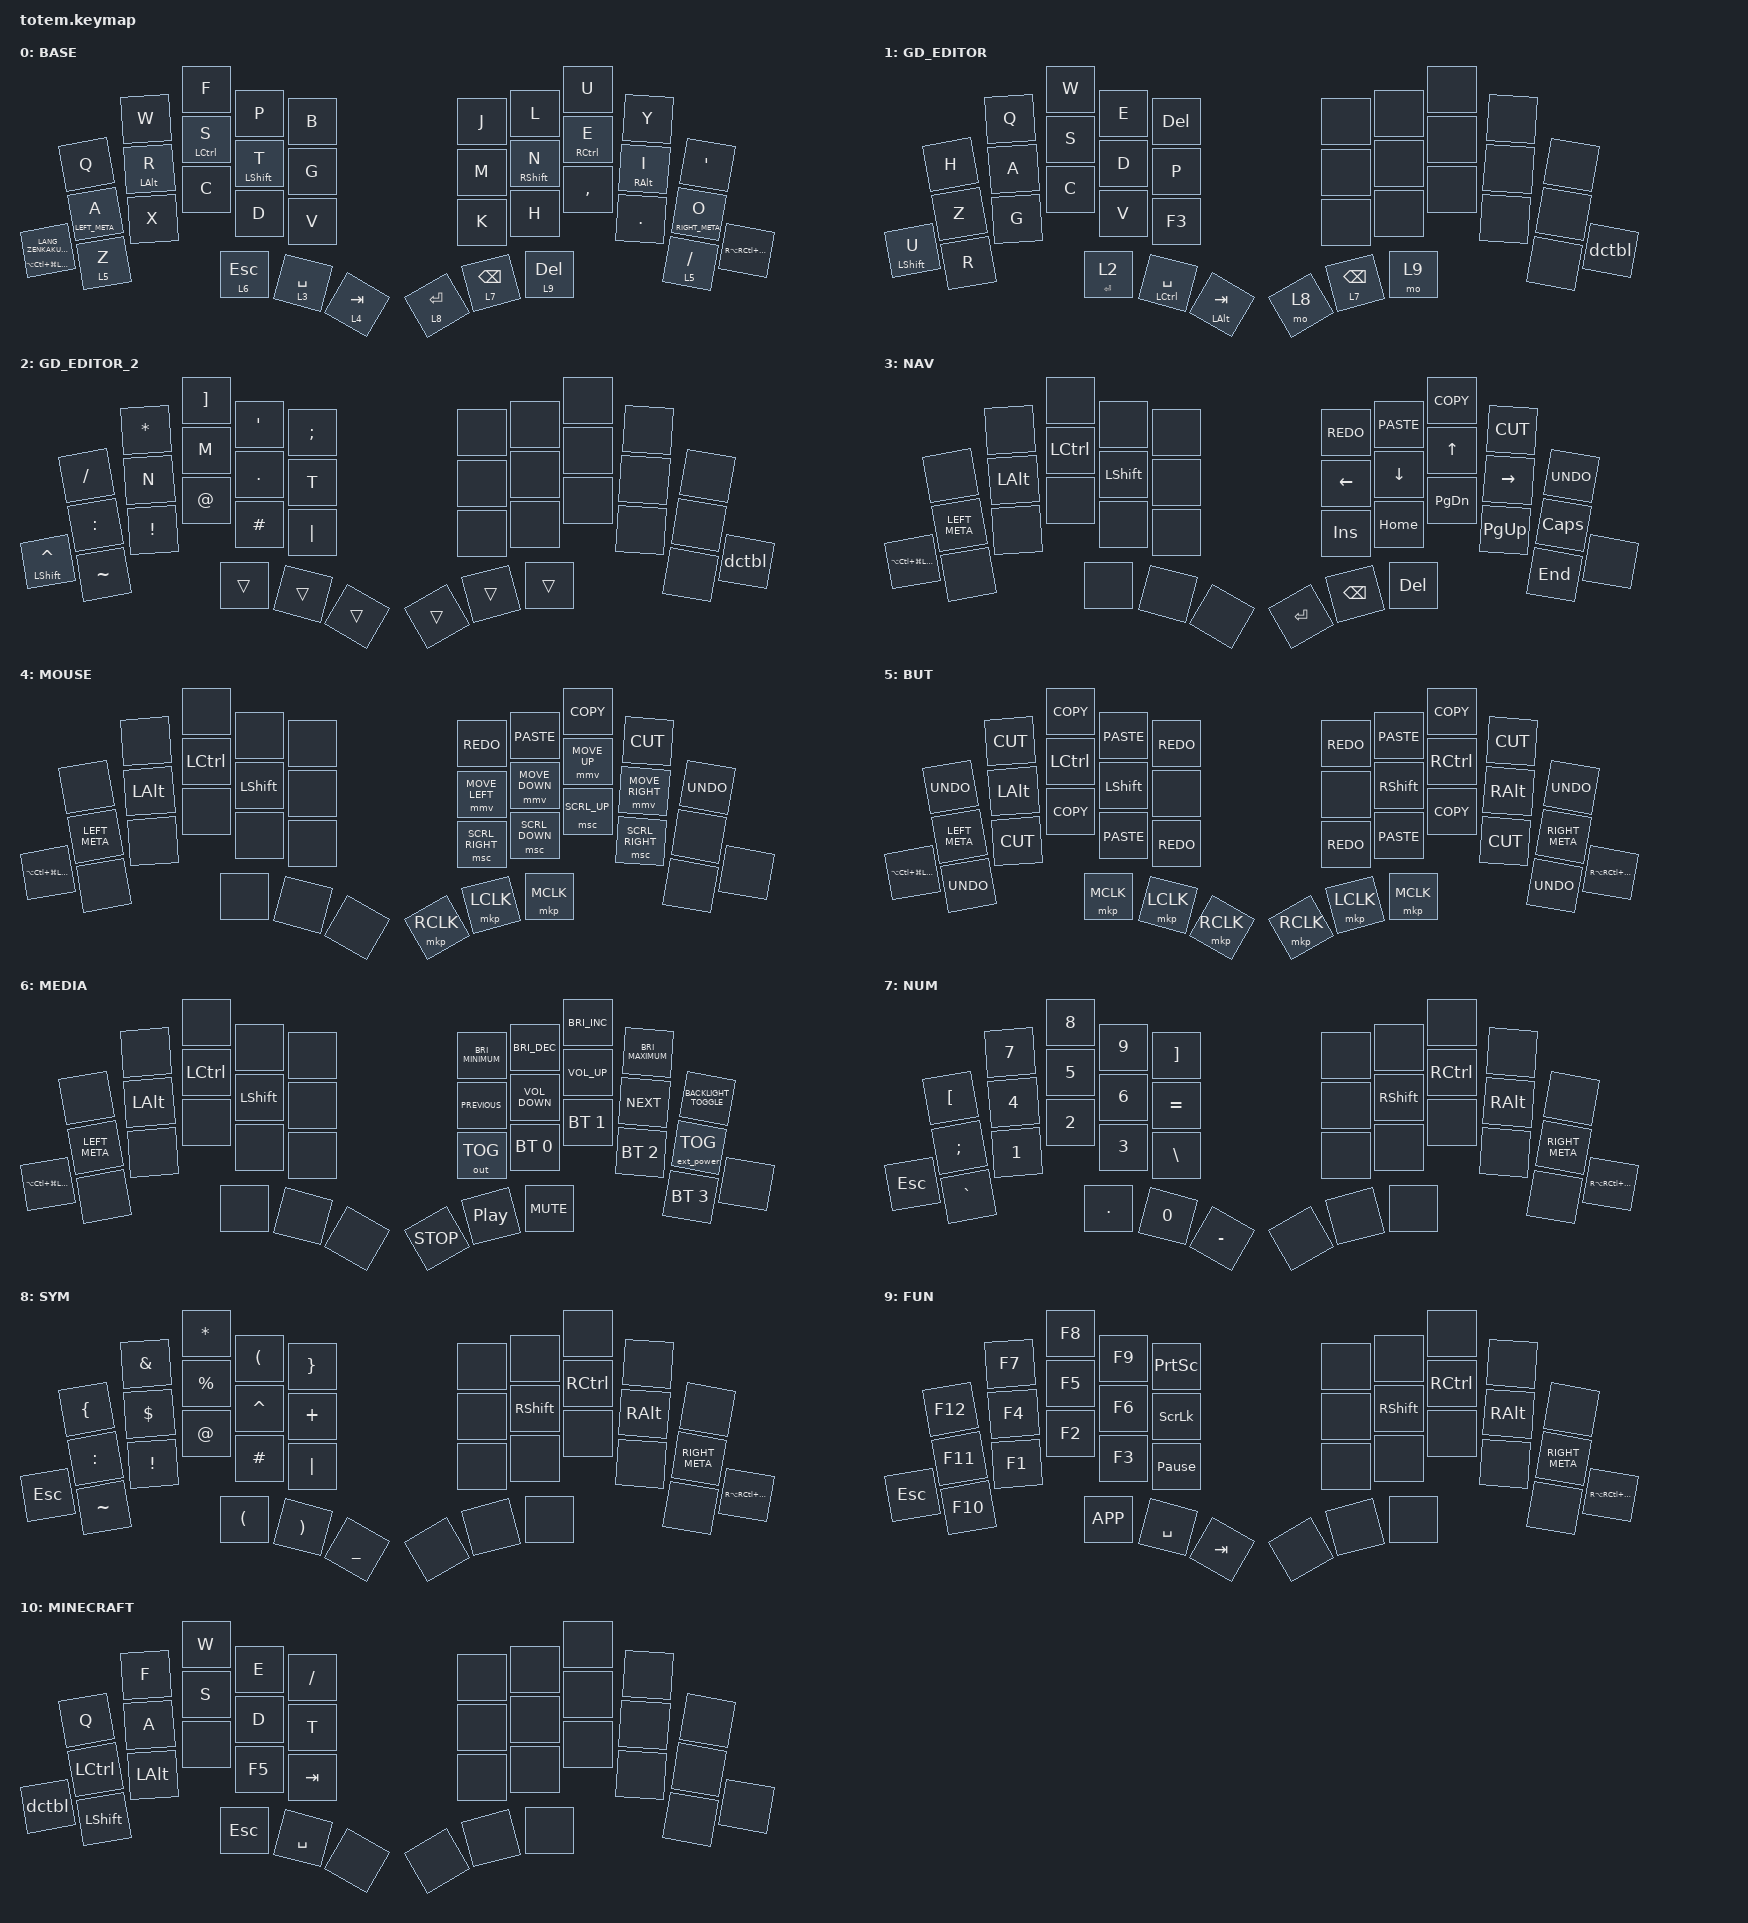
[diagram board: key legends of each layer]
//
//                                                        ▀▀▀▀▀     ▀▀▀▀▀          ▀▀█▀▀
//                                                        ▄▀▀▀▄  ▄  ▄▀▀▀▄  ▄  ▄▀▀▀▄  █  ▄▀▀▀▄
//                                                        █   █  █  █   █  █  █   █  █  █   █
//                                                         ▀▀▀   █   ▀▀▀   █   ▀▀▀   ▀   ▀▀▀
//                                                               █      ▄▄▄█▄▄▄    █   █  
//                                                               ▀      █  █  █     █▄█
//                                                             ▀▀▀▀▀    █  █  █      ▀
//                                                                      ▀  ▀  ▀
//
// ▄▄▄▄▄▄▄▄▄▄▄▄▄▄▄▄▄▄▄▄▄▄▄▄▄▄▄▄▄▄▄▄▄▄▄▄▄▄▄▄▄▄▄▄▄▄▄▄▄▄▄▄▄▄▄▄▄▄▄▄▄▄▄▄▄▄▄▄▄▄▄▄▄▄▄▄▄▄▄▄▄▄▄▄▄▄▄▄▄▄▄▄▄▄▄▄▄▄▄▄▄▄▄▄▄▄▄▄▄▄▄▄▄▄▄▄▄▄▄▄▄▄▄▄▄▄▄▄▄▄▄▄▄▄▄▄▄▄▄▄▄▄▄▄▄▄▄▄▄

#include <behaviors.dtsi>
#include <dt-bindings/zmk/bt.h>
#include <dt-bindings/zmk/ext_power.h>
#include <dt-bindings/zmk/keys.h>
#include <dt-bindings/zmk/outputs.h>
#include <dt-bindings/zmk/pointing.h>

#define BASE 0
#define NAV  1
#define SYM  2
#define ADJ  3
#define TVP1 4
#define TVP2 5

/ {
    combos {
        compatible = "zmk,combos";

        to_game {
            bindings = <&to 10>;
            key-positions = <20 31>;
            layers = <0>;
        };

        lalt {
            bindings = <&kp LALT>;
            key-positions = <10 11>;
            layers = <0 1 2>;
            timeout-ms = <20>;
            require-prior-idle-ms = <20>;
        };

        ralt {
            bindings = <&kp RALT>;
            key-positions = <19 18>;
            layers = <0 1 2>;
            timeout-ms = <20>;
            require-prior-idle-ms = <20>;
        };

        lctl {
            bindings = <&kp LCTRL>;
            key-positions = <11 12>;
            layers = <0 1 2>;
            timeout-ms = <20>;
            require-prior-idle-ms = <20>;
        };

        rctl {
            bindings = <&kp RCTRL>;
            key-positions = <18 17>;
            layers = <0 1 2>;
            timeout-ms = <20>;
            require-prior-idle-ms = <20>;
        };

        lsft {
            bindings = <&kp LSHFT>;
            key-positions = <12 13>;
            layers = <0 1 2>;
            timeout-ms = <20>;
            require-prior-idle-ms = <20>;
        };

        rsft {
            bindings = <&kp RSHFT>;
            key-positions = <17 16>;
            layers = <0 1 2>;
            timeout-ms = <20>;
            require-prior-idle-ms = <20>;
        };

        to_editor {
            bindings = <&to 1>;
            key-positions = <3 2 1 0>;
            layers = <0>;
        };
    };

    macros {
        gif: gif {
            label = "giphy";
            compatible = "zmk,behavior-macro";
            #binding-cells = <0>;
            bindings =
                <&macro_press>,
                <&macro_tap>,
                <&macro_release>,
                <&macro_tap>;
        };
    };

    behaviors {
        dpm: doubletap_passthrough_mod {
            compatible = "zmk,behavior-hold-tap";
            label = "DOUBLETAP_PASSTHROUGH_MOD";
            bindings = <&kp>, <&kp>;

            #binding-cells = <2>;
            tapping-term-ms = <190>;
            quick-tap-ms = <170>;
            flavor = "tap-preferred";
        };

        dpl: doubletap_passthrough_layer {
            compatible = "zmk,behavior-hold-tap";
            label = "DOUBLETAP_PASSTHROUGH_LAYER";
            bindings = <&mo>, <&kp>;

            #binding-cells = <2>;
            flavor = "tap-preferred";
            tapping-term-ms = <190>;
            quick-tap-ms = <170>;
        };

        dctbl: doubletap_change_to_base_layer {
            compatible = "zmk,behavior-tap-dance";
            label = "DOUBLETAP_CHANGE_TO_BASE_LAYER";
            #binding-cells = <0>;
            bindings = <&none>, <&to 0>;
        };

        hl: hold_layer {
            compatible = "zmk,behavior-hold-tap";
            label = "Hold/Layer";
            bindings = <&kp>, <&tog>;

            #binding-cells = <2>;
            tapping-term-ms = <190>;
            quick-tap-ms = <170>;
        };
    };

    keymap {
        compatible = "zmk,keymap";

        // ▄▄▄▄▄▄▄▄▄▄▄▄▄▄▄▄▄▄▄▄▄▄▄▄▄▄▄▄▄▄▄▄▄▄▄▄▄▄▄▄▄▄▄▄▄▄▄▄▄▄▄▄▄▄▄▄▄▄▄▄▄▄▄▄▄▄▄▄▄▄▄▄▄▄▄▄▄▄▄▄▄▄▄▄▄▄▄▄▄▄▄▄▄▄▄▄▄▄▄▄▄▄▄▄▄▄▄▄▄▄▄▄▄▄▄▄▄▄▄▄▄▄▄▄▄▄▄▄▄▄▄▄▄▄▄▄▄▄▄▄▄▄▄▄▄▄▄▄▄

        base_layer {
            // ┏━━━━━━━━━━━━━━━━━━━━━━━━━━━━━━━━━━━━━━━┓

            label = "BASE";

            // ┗━━━━━━━━━━━━━━━━━━━━━━━━━━━━━━━━━━━━━━━┛
            //             ┏━━━━━━━━━━━┳━━━━━━━━━━━┳━━━━━━━━━━━┳━━━━━━━━━━━┳━━━━━━━━━━━┓   ┏━━━━━━━━━━━┳━━━━━━━━━━━┳━━━━━━━━━━━┳━━━━━━━━━━━┳━━━━━━━━━━━┓
            //             ┃     Q     ┃     W     ┃     F     ┃     P     ┃     B     ┃   ┃     J     ┃     L     ┃     U     ┃     Y     ┃     '     ┃
            //             ┣━━━━━━━━━━━╋━━━━━━━━━━━╋━━━━━━━━━━━╋━━━━━━━━━━━╋━━━━━━━━━━━┫   ┣━━━━━━━━━━━╋━━━━━━━━━━━╋━━━━━━━━━━━╋━━━━━━━━━━━╋━━━━━━━━━━━┫
            //             ┃     A     ┃     R     ┃     S     ┃     T     ┃     G     ┃   ┃     M     ┃     N     ┃     E     ┃     I     ┃     O     ┃
            // ┏━━━━━━━━━━━╋━━━━━━━━━━━╋━━━━━━━━━━━╋━━━━━━━━━━━╋━━━━━━━━━━━╋━━━━━━━━━━━┫   ┣━━━━━━━━━━━╋━━━━━━━━━━━╋━━━━━━━━━━━╋━━━━━━━━━━━╋━━━━━━━━━━━╋━━━━━━━━━━━┓
            // ┃    Z/H    ┃     Z     ┃     X     ┃     C     ┃     D     ┃     V     ┃   ┃     K     ┃     H     ┃     ,     ┃     .     ┃     /     ┃    HYPR   ┃
            // ┗━━━━━━━━━━━┻━━━━━━━━━━━┻━━━━━━━━━━━╋━━━━━━━━━━━╋━━━━━━━━━━━╋━━━━━━━━━━━┫   ┣━━━━━━━━━━━╋━━━━━━━━━━━╋━━━━━━━━━━━╋━━━━━━━━━━━┻━━━━━━━━━━━┻━━━━━━━━━━━┛
            //                                     ┃    ESC    ┃    SPC    ┃    TAB    ┃   ┃   ENTER   ┃    BSPC   ┃    DEL    ┃
            //                                     ┗━━━━━━━━━━━┻━━━━━━━━━━━┻━━━━━━━━━━━┛   ┗━━━━━━━━━━━┻━━━━━━━━━━━┻━━━━━━━━━━━┛

            bindings = <
                                                 &kp Q             &kp W        &kp F         &kp P         &kp B         &kp J         &kp L             &kp U          &kp Y        &kp SINGLE_QUOTE
                                                 &dpm LEFT_META A  &dpm LALT R  &dpm LCTRL S  &dpm LSHFT T  &kp G         &kp M         &dpm RSHFT N      &dpm RCTRL E   &dpm RALT I  &dpm RIGHT_META O
&dpm LA(LC(LG(LEFT_SHIFT))) LANG_ZENKAKUHANKAKU  &dpl 5 Z          &kp X        &kp C         &kp D         &kp V         &kp K         &kp H             &kp COMMA      &kp DOT      &dpl 5 SLASH       &kp RA(RC(RG(RIGHT_SHIFT)))
                                                                                &dpl 6 ESC    &dpl 3 SPACE  &dpl 4 TAB    &dpl 8 ENTER  &dpl 7 BACKSPACE  &dpl 9 DELETE
            >;
        };

        gd_editor {
            label = "GD_EDITOR";
            bindings = <
               &kp H  &kp Q  &kp W        &kp E             &kp DELETE           &none  &none             &none  &none  &none
               &kp Z  &kp A  &kp S        &kp D             &kp P                &none  &none             &none  &none  &none
&dpm LSHIFT U  &kp R  &kp G  &kp C        &kp V             &kp F3               &none  &none             &none  &none  &none  &dctbl
                             &hl ENTER 2  &dpm LCTRL SPACE  &dpm LEFT_ALT TAB    &mo 8  &dpl 7 BACKSPACE  &mo 9
            >;
        };

        gd_editor_2 {
            label = "GD_EDITOR_2";
            bindings = <
                  &kp SLASH  &kp ASTERISK     &kp RIGHT_BRACKET  &kp SQT     &kp SEMICOLON    &none   &none   &none   &none  &none
                  &kp COLON  &kp N            &kp M              &kp PERIOD  &kp T            &none   &none   &none   &none  &none
&dpm LSHFT CARET  &kp TILDE  &kp EXCLAMATION  &kp AT_SIGN        &kp HASH    &kp PIPE         &none   &none   &none   &none  &none  &dctbl
                                              &trans             &trans      &trans           &trans  &trans  &trans
            >;
        };

        navigation {
            label = "NAV";
            bindings = <
                            &none          &none         &none      &none           &none    &kp K_REDO  &kp K_PASTE    &kp K_COPY     &kp K_CUT    &kp K_UNDO
                            &kp LEFT_META  &kp LEFT_ALT  &kp LCTRL  &kp LEFT_SHIFT  &none    &kp LEFT    &kp DOWN       &kp UP         &kp RIGHT    &kp CAPSLOCK
&kp LA(LC(LG(LEFT_SHIFT)))  &none          &none         &none      &none           &none    &kp INS     &kp HOME       &kp PAGE_DOWN  &kp PAGE_UP  &kp END       &none
                                                         &none      &none           &none    &kp ENTER   &kp BACKSPACE  &kp DELETE
            >;
        };

        mouse {
            label = "MOUSE";
            bindings = <
                            &none          &none         &none      &none           &none    &kp K_REDO       &kp K_PASTE     &kp K_COPY    &kp K_CUT        &kp K_UNDO
                            &kp LEFT_META  &kp LEFT_ALT  &kp LCTRL  &kp LEFT_SHIFT  &none    &mmv MOVE_LEFT   &mmv MOVE_DOWN  &mmv MOVE_UP  &mmv MOVE_RIGHT  &none
&kp LA(LC(LG(LEFT_SHIFT)))  &none          &none         &none      &none           &none    &msc SCRL_RIGHT  &msc SCRL_DOWN  &msc SCRL_UP  &msc SCRL_RIGHT  &none       &none
                                                         &none      &none           &none    &mkp RCLK        &mkp LCLK       &mkp MCLK
            >;
        };

        button {
            bindings = <
                            &kp K_UNDO     &kp K_CUT     &kp K_COPY  &kp K_PASTE     &kp K_REDO    &kp K_REDO  &kp K_PASTE      &kp K_COPY  &kp K_CUT      &kp K_UNDO
                            &kp LEFT_META  &kp LEFT_ALT  &kp LCTRL   &kp LEFT_SHIFT  &none         &none       &kp RIGHT_SHIFT  &kp RCTRL   &kp RIGHT_ALT  &kp RIGHT_META
&kp LA(LC(LG(LEFT_SHIFT)))  &kp K_UNDO     &kp K_CUT     &kp K_COPY  &kp K_PASTE     &kp K_REDO    &kp K_REDO  &kp K_PASTE      &kp K_COPY  &kp K_CUT      &kp K_UNDO      &kp RA(RC(RG(RIGHT_SHIFT)))
                                                         &mkp MCLK   &mkp LCLK       &mkp RCLK     &mkp RCLK   &mkp LCLK        &mkp MCLK
            >;

            label = "BUT";
        };

        media {
            label = "MEDIA";
            bindings = <
                            &none          &none         &none      &none           &none    &kp C_BRIGHTNESS_MINIMUM  &kp C_BRIGHTNESS_DEC  &kp C_BRIGHTNESS_INC  &kp C_BRIGHTNESS_MAXIMUM  &kp C_BACKLIGHT_TOGGLE
                            &kp LEFT_META  &kp LEFT_ALT  &kp LCTRL  &kp LEFT_SHIFT  &none    &kp C_PREVIOUS            &kp C_VOLUME_DOWN     &kp C_VOLUME_UP       &kp C_NEXT                &ext_power EP_TOG
&kp LA(LC(LG(LEFT_SHIFT)))  &none          &none         &none      &none           &none    &out OUT_TOG              &bt BT_SEL 0          &bt BT_SEL 1          &bt BT_SEL 2              &bt BT_SEL 3            &none
                                                         &none      &none           &none    &kp C_STOP                &kp C_PLAY_PAUSE      &kp C_MUTE
            >;
        };

        numpad {
            label = "NUM";
            bindings = <
         &kp LEFT_BRACKET  &kp NUMBER_7  &kp NUMBER_8  &kp NUMBER_9  &kp RIGHT_BRACKET    &none  &none            &none      &none          &none
         &kp SEMICOLON     &kp NUMBER_4  &kp NUMBER_5  &kp NUMBER_6  &kp EQUAL            &none  &kp RIGHT_SHIFT  &kp RCTRL  &kp RIGHT_ALT  &kp RIGHT_META
&kp ESC  &kp GRAVE         &kp NUMBER_1  &kp NUMBER_2  &kp NUMBER_3  &kp BACKSLASH        &none  &none            &none      &none          &none           &kp RA(RC(RG(RIGHT_SHIFT)))
                                         &kp PERIOD    &kp NUMBER_0  &kp MINUS            &none  &none            &none
            >;
        };

        symbols {
            label = "SYM";
            bindings = <
         &kp LEFT_BRACE  &kp AMPERSAND    &kp ASTERISK          &kp LEFT_PARENTHESIS   &kp RIGHT_BRACE    &none  &none            &none      &none          &none
         &kp COLON       &kp DOLLAR       &kp PERCENT           &kp CARET              &kp PLUS           &none  &kp RIGHT_SHIFT  &kp RCTRL  &kp RIGHT_ALT  &kp RIGHT_META
&kp ESC  &kp TILDE       &kp EXCLAMATION  &kp AT_SIGN           &kp POUND              &kp PIPE           &none  &none            &none      &none          &none           &kp RA(RC(RG(RIGHT_SHIFT)))
                                          &kp LEFT_PARENTHESIS  &kp RIGHT_PARENTHESIS  &kp UNDERSCORE     &none  &none            &none
            >;
        };

        function {
            label = "FUN";
            bindings = <
         &kp F12  &kp F7  &kp F8     &kp F9     &kp PSCRN          &none  &none            &none      &none          &none
         &kp F11  &kp F4  &kp F5     &kp F6     &kp SCROLLLOCK     &none  &kp RIGHT_SHIFT  &kp RCTRL  &kp RIGHT_ALT  &kp RIGHT_META
&kp ESC  &kp F10  &kp F1  &kp F2     &kp F3     &kp PAUSE_BREAK    &none  &none            &none      &none          &none           &kp RA(RC(RG(RIGHT_SHIFT)))
                          &kp K_APP  &kp SPACE  &kp TAB            &none  &none            &none
            >;
        };

        minecraft {
            bindings = <
        &kp Q      &kp F     &kp W    &kp E      &kp SLASH    &none  &none  &none  &none  &none
        &kp LCTRL  &kp A     &kp S    &kp D      &kp T        &none  &none  &none  &none  &none
&dctbl  &kp LSHFT  &kp LALT  &none    &kp F5     &kp TAB      &none  &none  &none  &none  &none  &none
                             &kp ESC  &kp SPACE  &none        &none  &none  &none
            >;

            label = "MINECRAFT";
        };
    };
};
